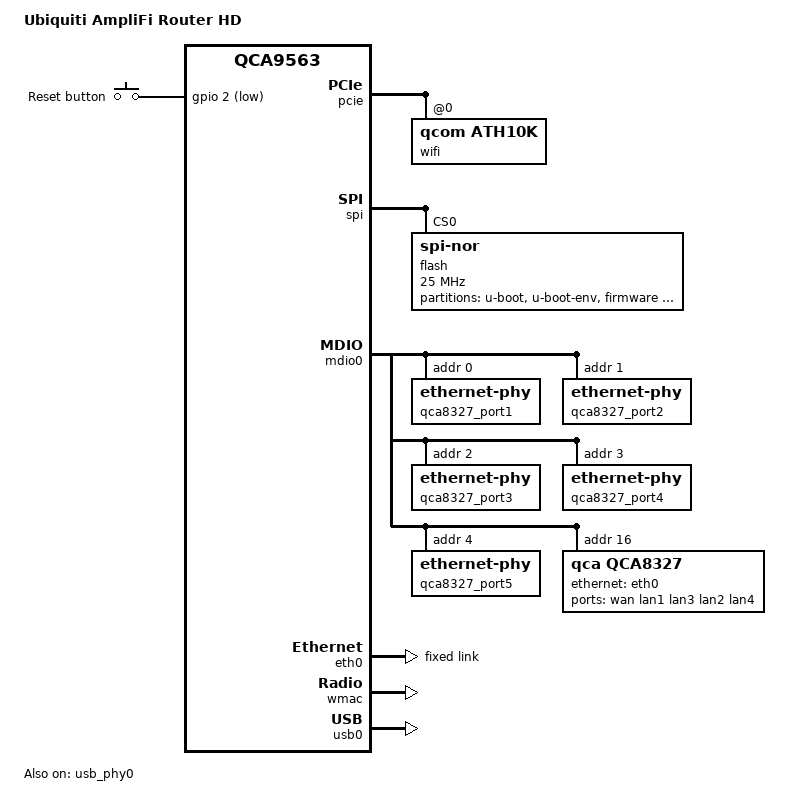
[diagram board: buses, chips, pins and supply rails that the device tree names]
// SPDX-License-Identifier: GPL-2.0-or-later OR MIT

#include "qca956x.dtsi"

#include <dt-bindings/gpio/gpio.h>
#include <dt-bindings/input/input.h>

/ {
	compatible = "ubnt,amplifi-router-hd", "qca,qca9563";
	model = "Ubiquiti AmpliFi Router HD";

	aliases {
		label-mac-device = &eth0;
	};

	keys {
		compatible = "gpio-keys";

		reset {
			label = "Reset button";
			linux,code = <KEY_RESTART>;
			gpios = <&gpio 2 GPIO_ACTIVE_LOW>;
			debounce-interval = <60>;
		};
	};
};

&pcie {
	status = "okay";

	wifi@0,0 {
		compatible = "qcom,ath10k";
		reg = <0x0000 0 0 0 0>;
		nvmem-cells = <&cal_art_5000>;
		nvmem-cell-names = "calibration";
	};
};

&spi {
	status = "okay";

	flash@0 {
		compatible = "jedec,spi-nor";
		reg = <0>;
		spi-max-frequency = <25000000>;

		partitions {
			compatible = "fixed-partitions";
			#address-cells = <1>;
			#size-cells = <1>;

			partition@0 {
				label = "u-boot";
				reg = <0x000000 0x060000>;
				read-only;
			};

			partition@60000 {
				compatible = "u-boot,env";
				label = "u-boot-env";
				reg = <0x060000 0x010000>;
			};

			partition@70000 {
				compatible = "denx,uimage";
				label = "firmware";
				reg = <0x070000 0xb00000>;
			};

			partition@b70000 {
				label = "cfg";
				reg = <0xb70000 0x0c0000>;
				read-only;
			};

			partition@c30000 {
				label = "recovery";
				reg = <0xc30000 0x3b0000>;
				read-only;
			};

			partition@fe0000 {
				label = "prst";
				reg = <0xfe0000 0x010000>;
				read-only;
			};

			partition@ff0000 {
				/* eeprom */
				label = "art";
				reg = <0xff0000 0x010000>;
				read-only;

				nvmem-layout {
					compatible = "fixed-layout";
					#address-cells = <1>;
					#size-cells = <1>;

					macaddr_art_0: macaddr@0 {
						compatible = "mac-base";
						reg = <0x0 0x6>;
						#nvmem-cell-cells = <1>;
					};

					cal_art_1000: calibration@1000 {
						reg = <0x1000 0x440>;
					};

					cal_art_5000: calibration@5000 {
						reg = <0x5000 0x844>;
					};
				};
			};

			partition@1000000 {
				label = "bs1";
				reg = <0x1000000 0x010000>;
			};

			partition@1010000 {
				label = "bs2";
				reg = <0x1010000 0x010000>;
				read-only;
			};

			partition@1020000 {
				label = "stats";
				reg = <0x1020000 0x400000>;
				read-only;
			};

			partition@1420000 {
				label = "fw_inactive";
				reg = <0x1420000 0xb00000>;
				read-only;
			};

			partition@1f20000 {
				label = "reserved";
				reg = <0x1f20000 0x0e0000>;
				read-only;
			};
		};
	};
};

&mdio0 {
	status = "okay";

	#address-cells = <1>;
	#size-cells = <0>;

	qca8327_port1: ethernet-phy@0 {
		reg = <0x0>;
	};

	qca8327_port2: ethernet-phy@1 {
		reg = <0x1>;
	};

	qca8327_port3: ethernet-phy@2 {
		reg = <0x2>;
	};

	qca8327_port4: ethernet-phy@3 {
		reg = <0x3>;
	};

	qca8327_port5: ethernet-phy@4 {
		reg = <0x4>;
	};

	qca8327: switch@10 {
		compatible = "qca,qca8327";
		
		reg = <0x10>;

		ports {
			#address-cells = <1>;
			#size-cells = <0>;

			port@0 {
				reg = <0>;
				ethernet = <&eth0>;
				phy-mode = "sgmii";
				qca,sgmii-rxclk-falling-edge;

				fixed-link {
					speed = <1000>;
					full-duplex;
				};
			};

			port@1 {
				reg = <1>;
				label = "wan";
				phy-handle = <&qca8327_port1>;
				nvmem-cells = <&macaddr_art_0 0>;
				nvmem-cell-names = "mac-address";
			};

			port@2 {
				reg = <2>;
				label = "lan1";
				phy-handle = <&qca8327_port2>;
				nvmem-cells = <&macaddr_art_0 1>;
				nvmem-cell-names = "mac-address";
			};

			port@3 {
				reg = <3>;
				label = "lan3";
				phy-handle = <&qca8327_port3>;
				nvmem-cells = <&macaddr_art_0 3>;
				nvmem-cell-names = "mac-address";
			};

			port@4 {
				reg = <4>;
				label = "lan2";
				phy-handle = <&qca8327_port4>;
				nvmem-cells = <&macaddr_art_0 2>;
				nvmem-cell-names = "mac-address";
			};

			port@5 {
				reg = <5>;
				label = "lan4";
				phy-handle = <&qca8327_port5>;
				nvmem-cells = <&macaddr_art_0 4>;
				nvmem-cell-names = "mac-address";
			};
		};
	};
};

&eth0 {
	status = "okay";
	
	pll-data = <0x03000101 0x00000101 0x00001919>;

	fixed-link {
		speed = <1000>;
		full-duplex;
	};
};

&wmac {
	status = "okay";

	nvmem-cells = <&macaddr_art_0 (-2)>, <&cal_art_1000>;
	nvmem-cell-names = "mac-address", "calibration";
};

&usb_phy0 {
	status = "okay";
};

&usb0 {
	status = "okay";
};
